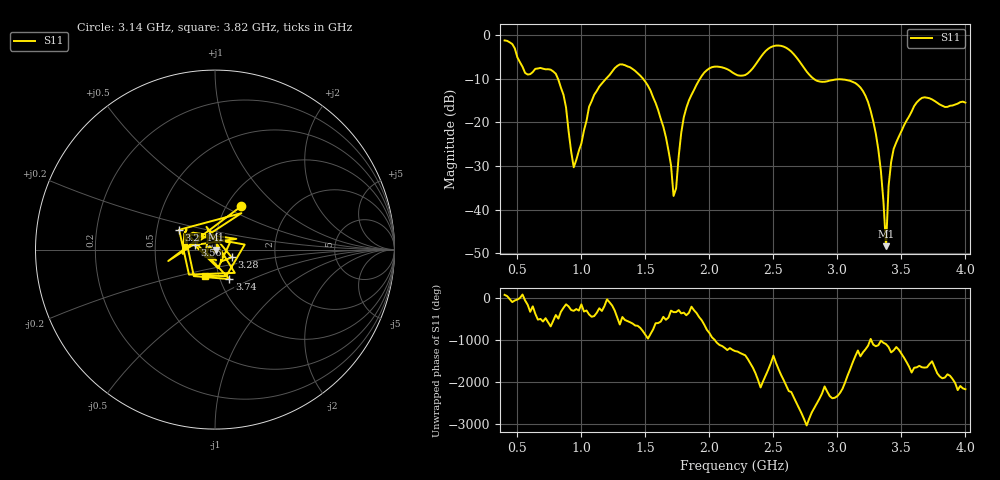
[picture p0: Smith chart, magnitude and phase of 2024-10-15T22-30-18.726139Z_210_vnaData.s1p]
! Created with skrf (http://scikit-rf.org).
# Hz S RI R 50.0
!freq ReS11 ImS11
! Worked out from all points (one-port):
!   181 points, 400 MHz to 4 GHz, reference 50 ohm
!   lowest |S11| = -48.4 dB at 3.38 GHz (marker M1), VSWR 1.01, Z = 50.4 - j0.0879 ohm
!   |S11| at or under -10 dB: 817 MHz to 1.193 GHz (375.5 MHz wide, 37.4 % of centre); 1.482 GHz to 1.926 GHz (444.5 MHz wide, 26.1 % of centre); 2.815 GHz to end of sweep
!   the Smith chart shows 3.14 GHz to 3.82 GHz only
!   S11 on the Smith chart (normalised r, x): 3.14 GHz: 1.17, +0.61; 3.2 GHz: 0.65, +0.15; 3.28 GHz: 1.20, -0.10; 3.56 GHz: 0.79, +0.04; 3.74 GHz: 1.11, -0.38; 3.82 GHz: 0.86, -0.26
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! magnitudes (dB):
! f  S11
! 400 MHz  -1.2
! 800 MHz  -8.9
! 860 MHz  -13.7
! 940 MHz  -30.3
! 1.1 GHz  -13.7
! 1.3 GHz  -6.7
! 1.58 GHz  -15.6
! 1.66 GHz  -23.4
! 1.72 GHz  -36.9
! 1.76 GHz  -27.8
! 1.82 GHz  -16.7
! 1.94 GHz  -9.4
! 2.2 GHz  -8.9
! 2.5 GHz  -2.5
! 2.66 GHz  -4.4
! 2.84 GHz  -10.5
! 3.1 GHz  -10.5
! 3.14 GHz  -11.0
! 3.2 GHz  -12.8
! 3.28 GHz  -19.8
! 3.34 GHz  -31.2
! 3.38 GHz  -48.4
! 3.4 GHz  -34.6
! 3.42 GHz  -29.0
! 3.56 GHz  -18.6
! 3.74 GHz  -14.7
! 3.82 GHz  -16.2
! 4 GHz  -15.5
